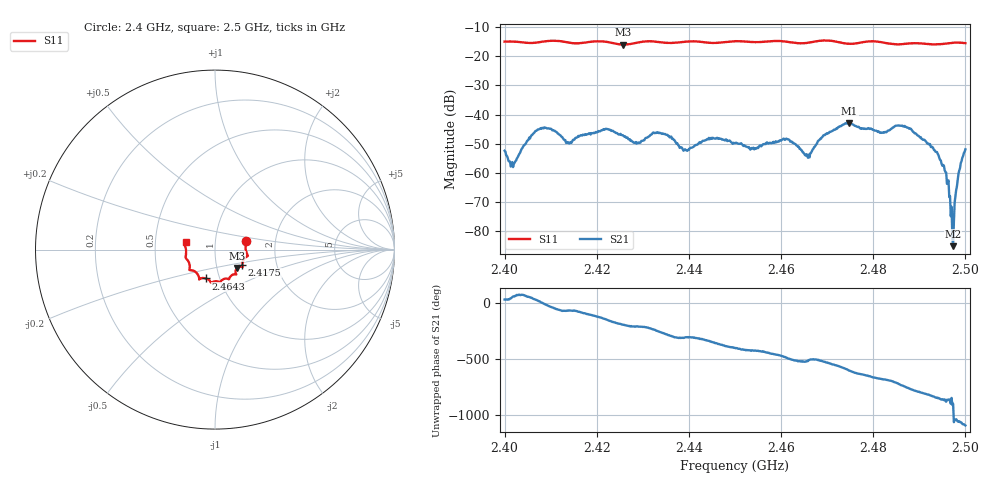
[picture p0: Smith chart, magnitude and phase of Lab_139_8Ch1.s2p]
# Hz S RI R 50
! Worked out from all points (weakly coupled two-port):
!   601 points, 2.4 GHz to 2.5 GHz, reference 50 ohm
!   highest |S21| = -42.97 dB at 2.4748 GHz (marker M1); lowest = -85.4 dB at 2.4973 GHz (marker M2)
!   lowest |S11| = -15.9 dB at 2.4257 GHz (marker M3), VSWR 1.38, Z = 62.5 - j13.1 ohm
!   |S11| at or under -10 dB: start of sweep to end of sweep
!   S12 and S22 are empty: the file has one direction only
!   S11 on the Smith chart (normalised r, x): 2.4 GHz: 1.41, +0.14; 2.4175 GHz: 1.34, -0.23; 2.4643 GHz: 0.86, -0.29; 2.5 GHz: 0.72, +0.06
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2.4e9  0.1732 0.0486  0.00198 0.00132  0 0  0 0
2.401833e9  0.176 0.0413  0.000603 0.00108  0 0  0 0
2.408167e9  0.178 -0.0225  0.00576 0.000438  0 0  0 0
2.413833e9  0.1675 -0.0455  0.00146 -0.00299  0 0  0 0
2.416667e9  0.153 -0.0742  0.000629 -0.00437  0 0  0 0
2.4175e9  0.152 -0.0836  -1.52e-05 -0.00459  0 0  0 0
2.425667e9  0.1228 -0.1025  -0.00431 0.000873  0 0  0 0
2.428833e9  0.1149 -0.1301  -0.00293 0.00146  0 0  0 0
2.433333e9  0.1129 -0.1372  -0.0016 0.00462  0 0  0 0
2.439167e9  0.0802 -0.1601  0.00144 0.00207  0 0  0 0
2.45e9  0.0287 -0.1809  0.00248 -0.00202  0 0  0 0
2.461e9  -0.0263 -0.1787  -0.00211 -0.00316  0 0  0 0
2.464333e9  -0.0499 -0.1609  -0.0023 -0.000858  0 0  0 0
2.466667e9  -0.0759 -0.1595  -0.00184 -0.00141  0 0  0 0
2.474833e9  -0.1047 -0.1277  -0.00329 0.0063  0 0  0 0
2.483333e9  -0.1406 -0.0902  0.00461 0.00261  0 0  0 0
2.487667e9  -0.159 -0.0519  0.00446 -0.00379  0 0  0 0
2.4935e9  -0.161 -0.00777  -0.00125 -0.00192  0 0  0 0
2.495833e9  -0.1662 0.0183  -0.000946 -0.000327  0 0  0 0
2.497333e9  -0.1699 0.0287  -5.39e-05 -1.4e-06  0 0  0 0
2.498833e9  -0.1691 0.0363  0.00114 0.000328  0 0  0 0
2.5e9  -0.164 0.0428  0.00244 -0.000584  0 0  0 0
